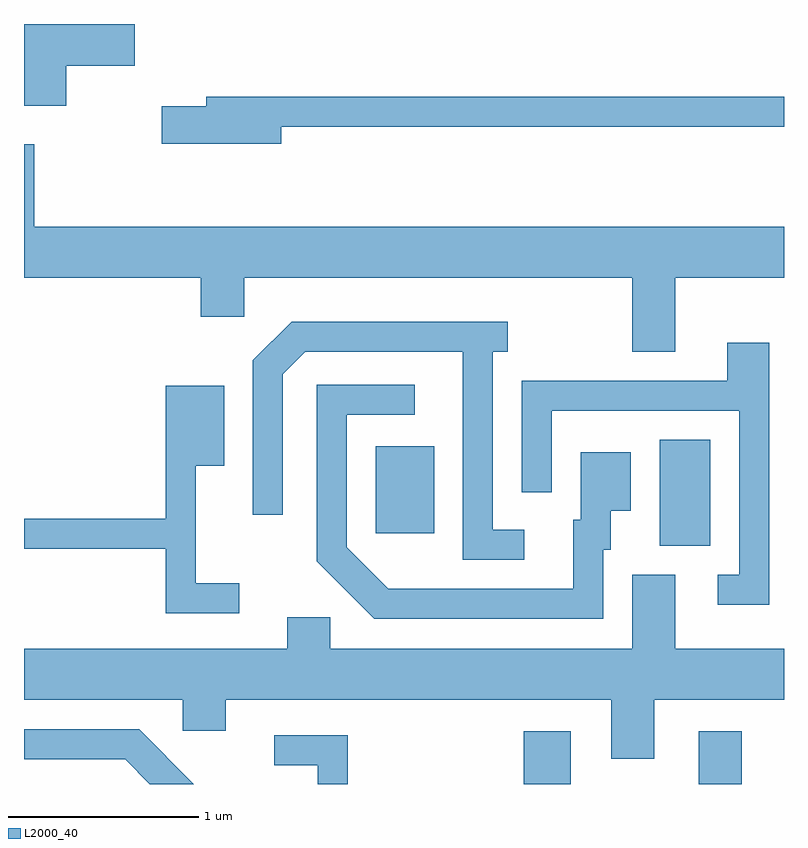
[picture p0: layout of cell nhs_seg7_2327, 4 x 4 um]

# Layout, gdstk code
import gdstk
lib = gdstk.Library(unit=1e-6, precision=1e-09)
def R(c, l, rs):  # rectangles x0, y0, x1, y1
    for r in rs: c.add(gdstk.rectangle(r[:2], r[2:], *l))
def P(c, l, *ps):  # polygons
    for p in ps: c.add(gdstk.Polygon(p, *l))
L2000_40 = (2000, 40)

nhs_seg7_2327 = lib.new_cell('nhs_seg7_2327')
R(nhs_seg7_2327, L2000_40, [(258.241,1778.252,258.489,1778.529), (259.161,1778.252,259.389,1778.529), (258.956,1779.506,259.224,1780.064), (257.461,1779.571,257.769,1780.029)])
P(nhs_seg7_2327, L2000_40, [(255.834,1782.031),(256.194,1782.031),(256.194,1782.252),(255.611,1782.252),(255.611,1781.821),(255.834,1781.821)],
  [(256.964,1781.711),(259.611,1781.711),(259.611,1781.869),(256.571,1781.869),(256.571,1781.819),(256.336,1781.819),(256.336,1781.621),(256.964,1781.621)],
  [(259.039,1780.916),(259.611,1780.916),(259.611,1781.184),(255.664,1781.184),(255.664,1781.618),(255.611,1781.618),(255.611,1780.916),(256.541,1780.916),(256.541,1780.711),(256.769,1780.711),(256.769,1780.916),(258.811,1780.916),(258.811,1780.526),(259.039,1780.526)],
  [(258.243,1779.589),(258.079,1779.589),(258.079,1780.526),(258.158,1780.526),(258.158,1780.684),(257.019,1780.684),(256.816,1780.482),(256.816,1779.668),(256.974,1779.668),(256.974,1780.409),(257.092,1780.526),(257.921,1780.526),(257.921,1779.431),(258.243,1779.431)],
  [(259.534,1780.574),(259.311,1780.574),(259.311,1780.374),(258.231,1780.374),(258.231,1779.788),(258.389,1779.788),(258.389,1780.216),(259.376,1780.216),(259.376,1779.354),(259.263,1779.354),(259.263,1779.196),(259.534,1779.196)],
  [(258.659,1779.486),(258.699,1779.486),(258.699,1779.691),(258.804,1779.691),(258.804,1779.999),(258.541,1779.999),(258.541,1779.644),(258.501,1779.644),(258.501,1779.279),(257.527,1779.279),(257.309,1779.497),(257.309,1780.196),(257.668,1780.196),(257.668,1780.354),(257.151,1780.354),(257.151,1779.424),(257.454,1779.121),(258.659,1779.121)],
  [(256.743,1779.309),(256.514,1779.309),(256.514,1779.926),(256.664,1779.926),(256.664,1780.349),(256.356,1780.349),(256.356,1779.649),(255.611,1779.649),(255.611,1779.491),(256.356,1779.491),(256.356,1779.151),(256.743,1779.151)],
  [(258.929,1778.696),(259.611,1778.696),(259.611,1778.964),(259.039,1778.964),(259.039,1779.354),(258.811,1779.354),(258.811,1778.964),(257.224,1778.964),(257.224,1779.129),(256.996,1779.129),(256.996,1778.964),(255.611,1778.964),(255.611,1778.696),(256.446,1778.696),(256.446,1778.531),(256.674,1778.531),(256.674,1778.696),(258.701,1778.696),(258.701,1778.386),(258.929,1778.386)],
  [(256.217,1778.539),(255.611,1778.539),(255.611,1778.381),(256.144,1778.381),(256.273,1778.252),(256.504,1778.252)],
  [(257.314,1778.509),(256.928,1778.509),(256.928,1778.351),(257.156,1778.351),(257.156,1778.252),(257.314,1778.252)])

lib.write_gds('nhs_seg7_2327.gds')
